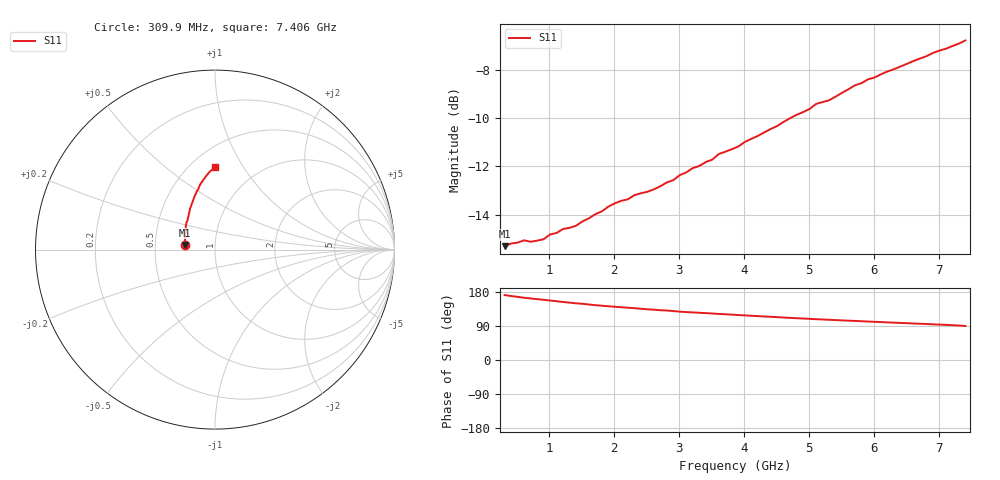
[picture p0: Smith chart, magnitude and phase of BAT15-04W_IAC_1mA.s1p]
! Infineon Technologies  Discrete & RF Semiconductors
! BAT15-04W-E6327
! IAC = 1 mA
! One-Port S-Parameters
# Hz  S  MA  R  50
!f  S11
!Hz  Mag  Ang
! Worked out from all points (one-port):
!   72 points, 309.9 MHz to 7.406 GHz, reference 50 ohm
!   lowest |S11| = -15.3 dB at 309.9 MHz (marker M1), VSWR 1.41, Z = 35.5 + j1.89 ohm
!   |S11| at or under -10 dB: start of sweep to 4.701 GHz
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3.0985e8  0.1715 171.3
6.097e8  0.1764 164.3
7.0965e8  0.1752 162.5
9.0955e8  0.1773 158.9
1.0095e9  0.1814 156.9
1.10945e9  0.1827 155.2
1.2094e9  0.1862 153.0
1.4093e9  0.1891 149.6
1.90905e9  0.2074 141.9
2.10895e9  0.2131 139.2
2.2089e9  0.2147 138.0
2.30885e9  0.2189 136.7
2.6087e9  0.2251 132.8
2.90855e9  0.2353 129.2
3.0085e9  0.241 127.6
3.50825e9  0.2595 122.7
3.6082e9  0.2666 121.6
3.90805e9  0.2763 118.7
4.008e9  0.2823 117.7
4.50775e9  0.3048 113.1
4.8076e9  0.3217 110.2
5.0075e9  0.3308 108.6
5.10745e9  0.3389 107.7
5.30735e9  0.3449 106.2
5.70715e9  0.3705 103.1
6.6067e9  0.4161 96.4
7.10645e9  0.4414 92.7
7.4063e9  0.4592 89.8
